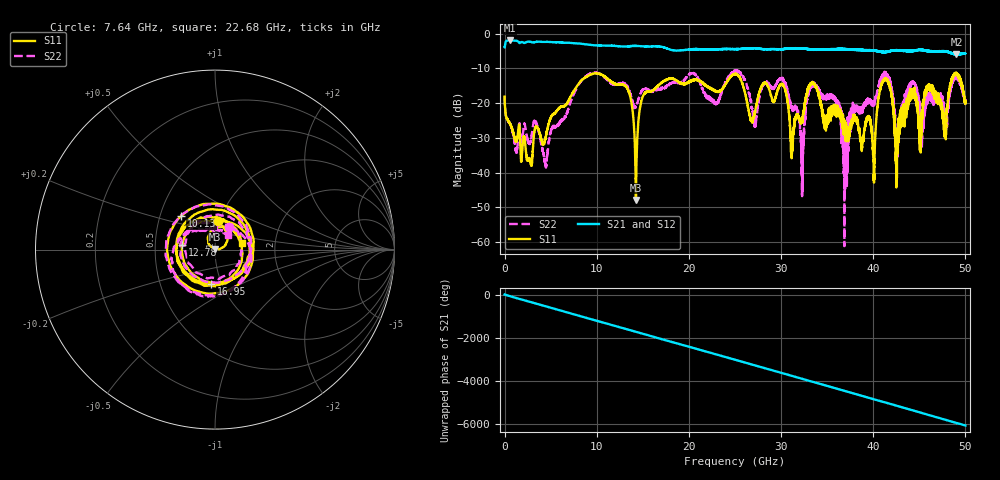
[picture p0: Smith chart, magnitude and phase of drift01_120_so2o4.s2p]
!Created with skrf (http://scikit-rf.org).
# Hz S RI R 50.0
!freq ReS11 ImS11 ReS21 ImS21 ReS12 ImS12 ReS22 ImS22
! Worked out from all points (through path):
!   10001 points, 300 kHz to 50 GHz, reference 50 ohm
!   highest |S21| = -2.00 dB at 570.3 MHz (marker M1); lowest = -6.0 dB at 49.04 GHz (marker M2)
!   group delay of S21, straight-line fit = 336 ps
!   lowest |S11| = -47.8 dB at 14.25 GHz (marker M3), VSWR 1.01, Z = 50.1 + j0.396 ohm
!   |S11| at or under -10 dB: start of sweep to end of sweep
!   |S22| runs from -61.1 to -10.6 dB; largest |S21 - S12| = 0.024
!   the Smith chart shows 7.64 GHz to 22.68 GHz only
!   S11 on the Smith chart (normalised r, x): 7.64 GHz: 0.98, +0.32; 10.13 GHz: 0.64, +0.26; 12.78 GHz: 0.69, +0.04; 16.95 GHz: 0.89, -0.35; 22.68 GHz: 1.35, +0.10
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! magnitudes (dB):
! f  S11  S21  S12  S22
! 300 kHz  -18.1  -4.0  -4.1  -18.0
! 570.3 MHz  -26.0  -2.0  -2.0  -26.0
! 4.435 GHz  -30.1  -2.4  -2.4  -37.5
! 7.64 GHz  -16.0  -2.8  -2.8  -16.7
! 8.335 GHz  -13.5  -3.0  -2.9  -13.5
! 10.13 GHz  -11.5  -3.4  -3.4  -11.4
! 12.78 GHz  -14.7  -3.7  -3.7  -14.3
! 14.25 GHz  -47.8  -3.6  -3.6  -21.2
! 16.67 GHz  -14.9  -3.7  -3.7  -15.8
! 16.95 GHz  -14.3  -3.8  -3.8  -15.6
! 22.68 GHz  -16.2  -4.6  -4.6  -19.2
! 25 GHz  -11.6  -4.5  -4.5  -11.0
! 27.17 GHz  -22.5  -4.3  -4.3  -26.1
! 30.22 GHz  -14.8  -4.5  -4.5  -13.4
! 32.27 GHz  -25.3  -4.3  -4.3  -42.9
! 33.34 GHz  -14.2  -4.6  -4.6  -14.6
! 37.02 GHz  -27.4  -4.5  -4.5  -30.8
! 40.06 GHz  -39.7  -4.9  -4.9  -20.1
! 41.67 GHz  -14.0  -5.1  -5.1  -12.8
! 42.59 GHz  -34.7  -4.8  -4.8  -31.9
! 49.04 GHz  -11.6  -6.0  -5.9  -12.6
! 50 GHz  -19.8  -5.7  -5.8  -19.5
